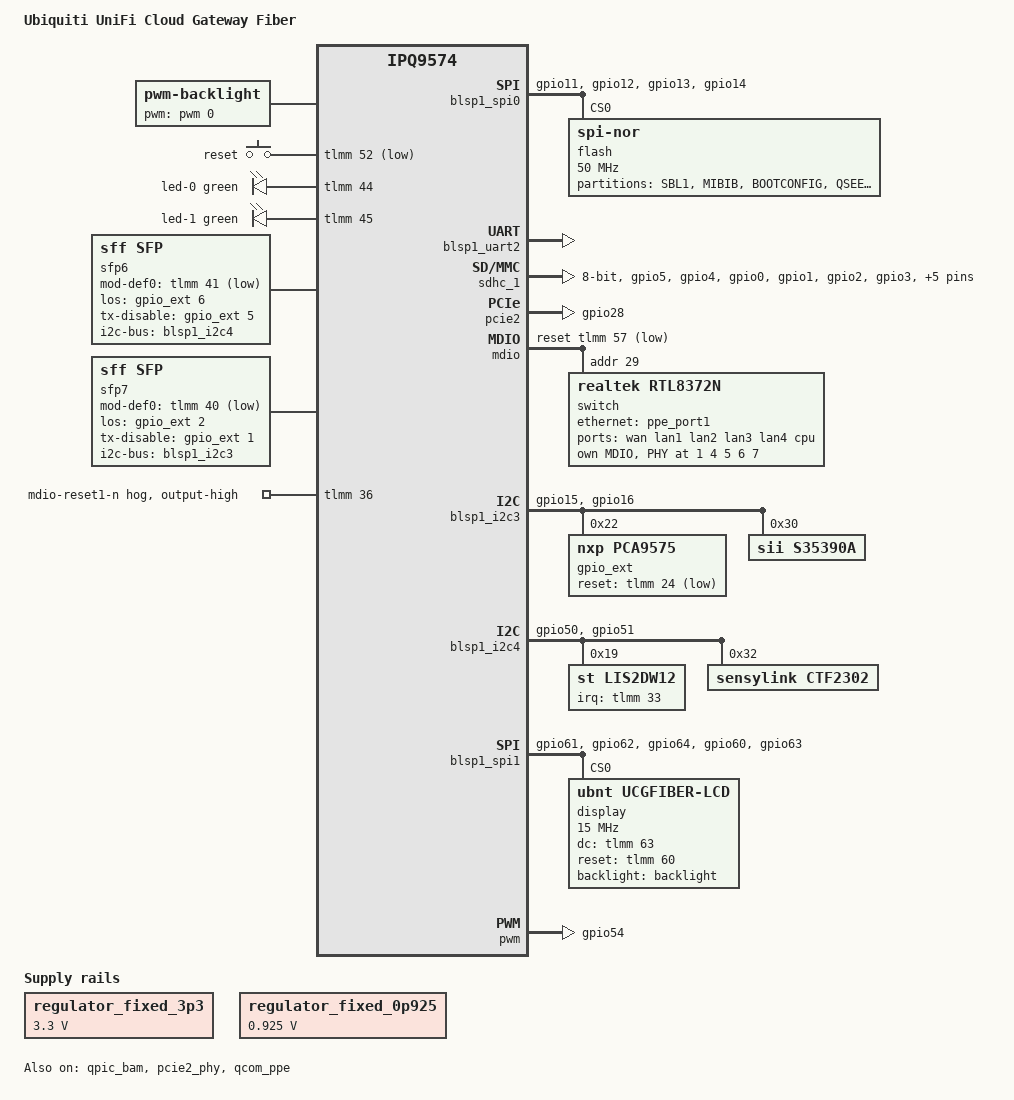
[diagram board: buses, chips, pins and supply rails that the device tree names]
// SPDX-License-Identifier: (GPL-2.0+ OR BSD-3-Clause)
/* UniFi Fiber Gateway
 *
 * Copyright (c) 2020-2021 The Linux Foundation. All rights reserved.
 * Copyright (c) 2022-2023 Qualcomm Innovation Center, Inc. All rights reserved.
 */

/dts-v1/;

#include <dt-bindings/gpio/gpio.h>
#include <dt-bindings/input/input.h>
#include <dt-bindings/leds/common.h>
#include "ipq9574.dtsi"

/ {
	model = "Ubiquiti UniFi Cloud Gateway Fiber";
	compatible = "ubnt,ucgfiber", "qcom,ipq9574-ap-al02-c18", "qcom,ipq9574-al02", "qcom,ipq9574";

	aliases {
		serial0 = &blsp1_uart2;
	};

	chosen {
		stdout-path = "serial0:115200n8";
	};

	/* stock: 200 Hz, inverted levels (the pwm-ipq driver has no polarity) */
	backlight: backlight {
		compatible = "pwm-backlight";
		pwms = <&pwm 0 5000000 0>;
		brightness-levels = <15 14 13 12 11 10 9 8 7 6 5 4 3 2 1 0>;
		default-brightness-level = <12>;
	};

	regulator_fixed_3p3: s3300 {
		compatible = "regulator-fixed";
		regulator-min-microvolt = <3300000>;
		regulator-max-microvolt = <3300000>;
		regulator-boot-on;
		regulator-always-on;
		regulator-name = "fixed_3p3";
	};

	regulator_fixed_0p925: s0925 {
		compatible = "regulator-fixed";
		regulator-min-microvolt = <925000>;
		regulator-max-microvolt = <925000>;
		regulator-boot-on;
		regulator-always-on;
		regulator-name = "fixed_0p925";
	};

	gpio-keys {
		compatible = "gpio-keys";
		pinctrl-0 = <&gpio_keys_default>;
		pinctrl-names = "default";

		button-reset {
			label = "reset";
			linux,code = <KEY_RESTART>;
			gpios = <&tlmm 52 GPIO_ACTIVE_LOW>;
			debounce-interval = <60>;
		};
	};

	leds {
		compatible = "gpio-leds";
		pinctrl-0 = <&gpio_leds_default>;
		pinctrl-names = "default";

		led-0 {
			color = <LED_COLOR_ID_GREEN>;
			function = "sfp";
			function-enumerator = <7>;
			gpios = <&tlmm 44 GPIO_ACTIVE_HIGH>;
		};

		led-1 {
			color = <LED_COLOR_ID_GREEN>;
			function = "sfp";
			function-enumerator = <6>;
			gpios = <&tlmm 45 GPIO_ACTIVE_HIGH>;
		};
	};

	sfp6: sfp6 {
		/* LAN cage "sfp2", connected to PPE port 6 */
		compatible = "sff,sfp";
		i2c-bus = <&blsp1_i2c4>;
		mod-def0-gpios = <&tlmm 41 GPIO_ACTIVE_LOW>;
		los-gpios = <&gpio_ext 6 GPIO_ACTIVE_HIGH>;
		tx-disable-gpios = <&gpio_ext 5 GPIO_ACTIVE_HIGH>;
		maximum-power-milliwatt = <3000>;
	};

	sfp7: sfp7 {
		/* WAN cage "sfp1", connected to PPE port 5 */
		compatible = "sff,sfp";
		i2c-bus = <&blsp1_i2c3>;
		mod-def0-gpios = <&tlmm 40 GPIO_ACTIVE_LOW>;
		los-gpios = <&gpio_ext 2 GPIO_ACTIVE_HIGH>;
		tx-disable-gpios = <&gpio_ext 1 GPIO_ACTIVE_HIGH>;
		maximum-power-milliwatt = <3000>;
	};
};

&blsp1_spi0 {
	pinctrl-0 = <&spi_0_pins>;
	pinctrl-names = "default";
	status = "okay";

	flash@0 {
		compatible = "jedec,spi-nor";
		reg = <0>;
		#address-cells = <1>;
		#size-cells = <1>;
		spi-max-frequency = <50000000>;

		partitions {
			compatible = "fixed-partitions";
			#address-cells = <1>;
			#size-cells = <1>;

			partition@0 {
				reg = <0x00 0xc0000>;
				label = "SBL1";
			};

			partition@c0000 {
				reg = <0xc0000 0x10000>;
				label = "MIBIB";
			};

			partition@d0000 {
				reg = <0xd0000 0x20000>;
				label = "BOOTCONFIG";
			};

			partition@f0000 {
				reg = <0xf0000 0x180000>;
				label = "QSEE";
			};

			partition@270000 {
				reg = <0x270000 0x10000>;
				label = "DEVCFG";
			};

			partition@280000 {
				reg = <0x280000 0x10000>;
				label = "APDP";
			};

			partition@290000 {
				reg = <0x290000 0x40000>;
				label = "TME";
			};

			partition@2d0000 {
				reg = <0x2d0000 0x20000>;
				label = "RPM";
			};

			partition@2f0000 {
				reg = <0x2f0000 0x10000>;
				label = "CDT";
			};

			partition@300000 {
				reg = <0x300000 0x10000>;
				label = "u-boot-env";
			};

			partition@310000 {
				reg = <0x310000 0xc0000>;
				label = "u-boot";
			};

			partition@3d0000 {
				reg = <0x3d0000 0x100000>;
				label = "ART";
			};

			partition@4d0000 {
				reg = <0x4d0000 0x10000>;
				label = "EEPROM";
				read-only;

				/*
				 * Offset 0 is the label MAC (base), offset 6 the same
				 * address with the locally administered bit set. The
				 * stock firmware gives each port its own address:
				 * 10G copper +0, LAN 1-4 +1..+4, SFP+ (PPE port 6) +5,
				 * SFP+ (PPE port 5) +6, and the switch CPU link the
				 * locally administered address +1.
				 */
				nvmem-layout {
					compatible = "fixed-layout";
					#address-cells = <1>;
					#size-cells = <1>;

					macaddr_eeprom_0: macaddr@0 {
						compatible = "mac-base";
						reg = <0x0 0x6>;
						#nvmem-cell-cells = <1>;
					};

					macaddr_eeprom_6: macaddr@6 {
						compatible = "mac-base";
						reg = <0x6 0x6>;
						#nvmem-cell-cells = <1>;
					};
				};
			};

			partition@4e0000 {
				reg = <0x4e0000 0x10000>;
				label = "Factory";
				read-only;
			};

			partition@4f0000 {
				reg = <0x4f0000 0x100000>;
				label = "config";
			};
		};
	};
};

&blsp1_uart2 {
	pinctrl-0 = <&uart2_pins>;
	pinctrl-names = "default";
	status = "okay";
};

&rpm_requests {
	regulators {
		compatible = "qcom,rpm-mp5496-regulators";

		ipq9574_s1: s1 {
			/*
			 * 725 mV as on the reference board: the CPU OPPs from 936 MHz
			 * to 1.416 GHz need 725-862.5 mV and are dropped by cpufreq
			 * with a higher floor (stock runs this rail under CPR).
			 */
			regulator-min-microvolt = <725000>;
			regulator-max-microvolt = <1075000>;
		};

		/*
		 * s2: NSS/NPU rail. The stock kernel votes it to 875 mV through its NPU
		 * CPR (range 700 mV to 1.0 V, always on). There is no l5 on this board:
		 * the RPM rejects it with -ENXIO, and the regulator probe then aborts and
		 * drops s1 as well (so cpufreq-dt never probes). l5 was copied from
		 * the reference board, where it feeds the USB/PCIe PHY PLLs.
		 */
		mp5496_s2: s2 {
			regulator-min-microvolt = <875000>;
			regulator-max-microvolt = <875000>;
			regulator-always-on;
			regulator-boot-on;
		};

		/*
		 * s4: MX rail, an RPM level (corner) regulator, not a voltage
		 * (values are level numbers). The stock kernel holds level 5
		 * through its NSS driver (mx-supply); nothing else votes it.
		 */
		mp5496_s4: s4 {
			regulator-min-microvolt = <5>;
			regulator-max-microvolt = <5>;
			regulator-always-on;
			regulator-boot-on;
		};

		/*
		 * No l2: the stock firmware never declares it (s1, s2 and s4 only,
		 * on every board of this family). Voting it to 1.8 V, as on the
		 * reference board, breaks every 10G SerDes of the SoC within
		 * milliseconds (CPU link and SFP+ ports: high bit error rate).
		 */
	};
};

&sleep_clk {
	clock-frequency = <32000>;
};

&tlmm {
	/*
	 * The stock firmware pulses two active-low resets for the devices on
	 * mdio@90000 (RTL8372N switch, RTL8261N PHY), GPIO 36 first, then
	 * GPIO 57. The MDIO bus takes a single reset-gpios, so GPIO 57 is the
	 * bus reset and GPIO 36 is released here, before the bus is scanned.
	 * Which line resets which chip is not known.
	 */
	mdio_reset_hog {
		gpio-hog;
		gpios = <36 GPIO_ACTIVE_HIGH>;
		output-high;
		line-name = "mdio-reset1-n";
	};

	spi_0_pins: spi-0-state {
		pins = "gpio11", "gpio12", "gpio13", "gpio14";
		function = "blsp0_spi";
		drive-strength = <8>;
		bias-disable;
	};

	gpio_keys_default: gpio-keys-default-state {
		pins = "gpio52";
		function = "gpio";
		drive-strength = <8>;
		bias-pull-up;
	};

	pwm_pins: pwm-state {
		pins = "gpio54";
		function = "pwm";
		drive-strength = <8>;
		bias-disable;
	};

	gpio_leds_default: gpio-leds-default-state {
		pins = "gpio44", "gpio45";
		function = "gpio";
		drive-strength = <8>;
		output-low;
		bias-pull-up;
	};

	pcie2_default: pcie2-default-state {
		perst-n-pins {
			pins = "gpio28";
			function = "gpio";
			drive-strength = <8>;
			bias-pull-down;
			output-low;
		};
	};

	i2c3_pins: i2c3-pins {
		pins = "gpio15", "gpio16";
		function = "blsp3_i2c";
		drive-strength = <8>;
		bias-disable;
	};

	i2c4_pins: i2c4-pins {
		pins = "gpio50", "gpio51";
		function = "blsp4_i2c";
		drive-strength = <8>;
		bias-disable;
	};

	spi1_pins: spi1-pins {
		mux_0 {
			pins = "gpio61", "gpio62", "gpio64";
			function = "blsp1_spi";
			drive-strength = <8>;
			bias-disable;
		};

		mux_1 {
			pins = "gpio60", "gpio63";
			function = "gpio";
			drive-strength = <8>;
			bias-disable;
		};
	};

	sdc_default_state: sdc-default-state {
		clk-pins {
			pins = "gpio5";
			function = "sdc_clk";
			drive-strength = <8>;
			bias-disable;
		};

		cmd-pins {
			pins = "gpio4";
			function = "sdc_cmd";
			drive-strength = <8>;
			bias-pull-up;
		};

		data-pins {
			pins = "gpio0", "gpio1", "gpio2",
			       "gpio3", "gpio6", "gpio7",
			       "gpio8", "gpio9";
			function = "sdc_data";
			drive-strength = <8>;
			bias-pull-up;
		};

		rclk-pins {
			pins = "gpio10";
			function = "sdc_rclk";
			drive-strength = <8>;
			bias-pull-down;
		};
	};
};

&qpic_bam {
	status = "okay";
};

&ref_48mhz_clk {
	clock-div = <1>;
	clock-mult = <1>;
};

&xo_board_clk {
	clock-div = <2>;
	clock-mult = <1>;
};

&xo_clk {
	clock-frequency = <48000000>;
};

/*
 * eMMC as stock runs it: HS200 at up to 192 MHz, no command queueing.
 * In HS400 Enhanced Strobe with CQE at 384 MHz (as on the reference
 * boards) bulk reads on this board end in CQE recovery and I/O errors.
 */
&sdhc_1 {
	pinctrl-0 = <&sdc_default_state>;
	pinctrl-names = "default";
	mmc-ddr-1_8v;
	mmc-hs200-1_8v;
	max-frequency = <192000000>;
	bus-width = <8>;
	/delete-property/ supports-cqe;
	status = "okay";
};

&pcie2_phy {
	status = "okay";
};

&pcie2 {
	pinctrl-0 = <&pcie2_default>;
	pinctrl-names = "default";

	perst-gpios = <&tlmm 28 GPIO_ACTIVE_LOW>;
	status = "okay";
};

&mdio {
	reset-gpios = <&tlmm 57 GPIO_ACTIVE_LOW>;
	reset-delay-us = <100000>;
	reset-post-delay-us = <100000>;
	status = "okay";

	/*
	 * RTL8372N switch (stock: "realtek,rtl8372", phy-id 0x1d). It is reset
	 * by the MDIO bus reset above and the GPIO 36 hog, not by a GPIO of
	 * its own.
	 *
	 * Port 8 (SerDes 1, "10gbase-r" in the stock DT) is taken to be the CPU
	 * link to ppe_port1; ports 4 to 7 are the four 2.5G LAN ports with
	 * internal PHYs. Port 3 (SerDes 0, "usxgmii") is the 10G copper port:
	 * the RTL8261N PHY at SMI address 1, reached through the switch's own
	 * MDIO bus. The stock firmware also marks port 3 as having an external
	 * PHY (rtk_port_extphyid_set); the driver does not, so link polling for
	 * that port is unverified, and the driver's author is unsure that its
	 * USXGMII mode works. Not known from the stock firmware and left at
	 * their defaults: the SerDes lane swaps and PHY polarity bits
	 * (sds*-rx/tx-swap, phy-mdi-reverse, phy-tx-polarity-swap), and which
	 * front panel socket is which port. The driver has no LED support, so
	 * the per-port LED settings of the stock DT are not carried over.
	 */
	switch@1d {
		compatible = "realtek,rtl8372n";
		reg = <29>;

		/*
		 * LED and LED-pin setup of the stock firmware, as read from the
		 * running stock firmware (the driver has no LED code): LAN ports
		 * 4-7 on LED set 3, the set behaviour, pin output enable and pin
		 * mux. This board has no LEDs at the RJ45 ports; the values are
		 * kept so that the switch's LED pins are set up as on stock.
		 * <register mask value>
		 */
		extra-init = <0x6524 0xffffffff 0xf5001400>,	/* LED3_0_SET3_2_CTRL1 */
			     <0x6528 0xffffffff 0x00000005>,	/* LED3_0_SET1_0_CTRL1 */
			     <0x652c 0xffffffff 0x007f017d>,	/* LED3_2_SET3_CTRL0 */
			     <0x6548 0xffffffff 0x0154017d>,	/* LED1_0_SET0_CTRL0 */
			     <0x654c 0xffffffff 0x0000ff00>,	/* LED_PORT_SET_SEL */
			     <0x65e0 0xffffffff 0x3fffffe0>,	/* LED_GLB_MUX_1 */
			     <0x65e4 0xffffffff 0x0c6bffde>,	/* LED_GLB_MUX_2 */
			     <0x65dc 0xffffffff 0x5fffff21>;	/* LED_GLB_IO_EN */

		ports {
			#address-cells = <1>;
			#size-cells = <0>;

			port@3 {
				reg = <3>;
				label = "wan";
				nvmem-cells = <&macaddr_eeprom_0 0>;
				nvmem-cell-names = "mac-address";
				phy-mode = "usxgmii";
				/* the switch's USXGMII PCS needs in-band signalling,
				 * as the stock SDK runs it (auto-negotiation on)
				 */
				managed = "in-band-status";
				phy-handle = <&switch_phy1>;
			};

			port@4 {
				reg = <4>;
				label = "lan1";
				nvmem-cells = <&macaddr_eeprom_0 1>;
				nvmem-cell-names = "mac-address";
				phy-mode = "internal";
				phy-handle = <&switch_phy4>;
			};

			port@5 {
				reg = <5>;
				label = "lan2";
				nvmem-cells = <&macaddr_eeprom_0 2>;
				nvmem-cell-names = "mac-address";
				phy-mode = "internal";
				phy-handle = <&switch_phy5>;
			};

			port@6 {
				reg = <6>;
				label = "lan3";
				nvmem-cells = <&macaddr_eeprom_0 3>;
				nvmem-cell-names = "mac-address";
				phy-mode = "internal";
				phy-handle = <&switch_phy6>;
			};

			port@7 {
				reg = <7>;
				label = "lan4";
				nvmem-cells = <&macaddr_eeprom_0 4>;
				nvmem-cell-names = "mac-address";
				phy-mode = "internal";
				phy-handle = <&switch_phy7>;
			};

			port@8 {
				reg = <8>;
				label = "cpu";
				ethernet = <&ppe_port1>;
				phy-mode = "10gbase-r";

				fixed-link {
					speed = <10000>;
					full-duplex;
					pause;
					asym-pause;
				};
			};
		};

		mdio {
			#address-cells = <1>;
			#size-cells = <0>;

			switch_phy1: ethernet-phy@1 {
				compatible = "ethernet-phy-ieee802.3-c45";
				reg = <1>;
			};

			switch_phy4: ethernet-phy@4 {
				compatible = "ethernet-phy-ieee802.3-c45";
				reg = <4>;
			};

			switch_phy5: ethernet-phy@5 {
				compatible = "ethernet-phy-ieee802.3-c45";
				reg = <5>;
			};

			switch_phy6: ethernet-phy@6 {
				compatible = "ethernet-phy-ieee802.3-c45";
				reg = <6>;
			};

			switch_phy7: ethernet-phy@7 {
				compatible = "ethernet-phy-ieee802.3-c45";
				reg = <7>;
			};
		};
	};
};

&qcom_ppe {
	status = "okay";

	ethernet-ports {
		#address-cells = <1>;
		#size-cells = <0>;

		ppe_port1: port@1 {
			reg = <1>;
			nvmem-cells = <&macaddr_eeprom_6 1>;
			nvmem-cell-names = "mac-address";
			/*
			 * 10GBASE-R, not USXGMII: the stock firmware runs this link with the
			 * XPCS in plain 10GBASE-R (DIG_CTRL1 0x2000, no USXG_EN, MII AN off)
			 * although its DT labels dp1 "usxgmii"; the switch side (port 8) is
			 * 10gbase-r too.
			 */
			phy-mode = "10gbase-r";
			pcs-handle = <&pcs0_ch0>;
			clocks = <&nsscc NSS_CC_PORT1_MAC_CLK>,
				 <&nsscc NSS_CC_PORT1_RX_CLK>,
				 <&nsscc NSS_CC_PORT1_TX_CLK>;
			clock-names = "mac",
				      "rx",
				      "tx";
			resets = <&nsscc PORT1_MAC_ARES>,
				 <&nsscc PORT1_RX_ARES>,
				 <&nsscc PORT1_TX_ARES>;
			reset-names = "mac",
				      "rx",
				      "tx";

			/*
			 * Link to the RTL8372N switch (its port 8). The RTL8261N
			 * 10G PHY is behind that switch, on its port 3.
			 */
			fixed-link {
				speed = <10000>;
				full-duplex;
				pause;
			};
		};

		ppe_port5: port@5 {
			reg = <5>;
			label = "sfp1";
			nvmem-cells = <&macaddr_eeprom_0 6>;
			nvmem-cell-names = "mac-address";
			phy-mode = "usxgmii";
			managed = "in-band-status";
			pcs-handle = <&pcs1_ch0>;
			sfp = <&sfp7>;
			clocks = <&nsscc NSS_CC_PORT5_MAC_CLK>,
				 <&nsscc NSS_CC_PORT5_RX_CLK>,
				 <&nsscc NSS_CC_PORT5_TX_CLK>;
			clock-names = "mac",
				      "rx",
				      "tx";
			resets = <&nsscc PORT5_MAC_ARES>,
				 <&nsscc PORT5_RX_ARES>,
				 <&nsscc PORT5_TX_ARES>;
			reset-names = "mac",
				      "rx",
				      "tx";
		};

		ppe_port6: port@6 {
			reg = <6>;
			label = "sfp2";
			nvmem-cells = <&macaddr_eeprom_0 5>;
			nvmem-cell-names = "mac-address";
			phy-mode = "usxgmii";
			managed = "in-band-status";
			pcs-handle = <&pcs2_ch0>;
			sfp = <&sfp6>;
			clocks = <&nsscc NSS_CC_PORT6_MAC_CLK>,
				 <&nsscc NSS_CC_PORT6_RX_CLK>,
				 <&nsscc NSS_CC_PORT6_TX_CLK>;
			clock-names = "mac",
				      "rx",
				      "tx";
			resets = <&nsscc PORT6_MAC_ARES>,
				 <&nsscc PORT6_RX_ARES>,
				 <&nsscc PORT6_TX_ARES>;
			reset-names = "mac",
				      "rx",
				      "tx";
		};
	};
};

/*
 * SerDes analog tuning of the two SFP+ uniphys, from the stock DT
 * (ess-uniphy "de-emphasis"). The CPU link (uniphy0) has none.
 */
&pcs1 {
	qcom,serdes-tuning = <0x7c4 0x1f4f>, <0x21c 0x288a>, <0x19c 0xbe20>;
};

&pcs2 {
	qcom,serdes-tuning = <0x7c4 0x1e65>, <0x21c 0x288a>, <0x19c 0xbe00>;
};

&blsp1_i2c3 {
	pinctrl-0 = <&i2c3_pins>;
	pinctrl-names = "default";
	status = "okay";

	/*
	 * Not described: Realtek RTL8238B PoE controller at I2C address 0x20
	 * (reset TLMM 25, interrupt TLMM 42, 51 W power budget, one PoE port
	 * with its LED on PCA9575 pin 11). No upstream driver or binding exists
	 * yet.
	 */

	gpio_ext: pca9575@22 {
		compatible = "nxp,pca9575";
		reg = <0x22>;
		gpio-controller;
		pupd-val = [ff 00];
		#gpio-cells = <0x02>;
		reset-gpios = <&tlmm 24 GPIO_ACTIVE_LOW>;
	};

	s35390a@30 {
		compatible = "sii,s35390a";
		reg = <0x30>;
	};
};

&blsp1_i2c4 {
	pinctrl-0 = <&i2c4_pins>;
	pinctrl-names = "default";
	status = "okay";

	lis2dw12@19 {
		compatible = "st,lis2dw12";
		reg = <0x19>;
		interrupts-extended = <&tlmm 33 IRQ_TYPE_EDGE_FALLING>;
	};

	ctf2302@32 {
		compatible = "sensylink,ctf2302";
		reg = <0x32>;
		ch-dis = <0x2000>;
	};

	/*
	 * No LM63: the stock DT declares lm63@4c, but nothing answers at 0x4c
	 * on this board (i2cdetect on stock); the fan is driven by the CTF2302.
	 */
};

&blsp1_spi1 {
	status = "okay";
	pinctrl-0 = <&spi1_pins>;
	pinctrl-names = "default";

	/*
	 * ST7735S, 160x80 landscape. The stock st7735fb driver uses MADCTL 0xa8
	 * and places the 80 rows at row 24 of the controller RAM.
	 */
	display@0 {
		compatible = "ubnt,ucgfiber-lcd", "panel-mipi-dbi-spi";
		reg = <0>;
		spi-max-frequency = <15000000>;
		dc-gpios = <&tlmm 63 GPIO_ACTIVE_HIGH>;
		reset-gpios = <&tlmm 60 GPIO_ACTIVE_HIGH>;
		backlight = <&backlight>;
		write-only;
		width-mm = <22>;
		height-mm = <11>;

		panel-timing {
			hactive = <160>;
			vactive = <80>;
			hback-porch = <0>;
			vback-porch = <24>;
			clock-frequency = <0>;
			hfront-porch = <0>;
			hsync-len = <0>;
			vfront-porch = <0>;
			vsync-len = <0>;
		};
	};
};

&pwm {
	pinctrl-0 = <&pwm_pins>;
	pinctrl-names = "default";
	status = "okay";
};
